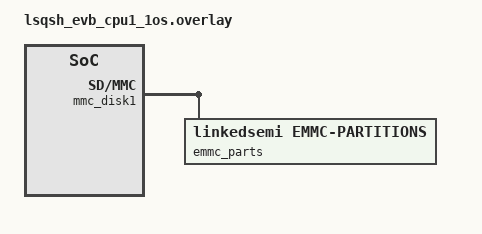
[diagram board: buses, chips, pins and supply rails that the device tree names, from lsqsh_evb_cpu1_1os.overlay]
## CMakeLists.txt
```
# SPDX-License-Identifier: Apache-2.0

cmake_minimum_required(VERSION 3.20.0)

find_package(Zephyr REQUIRED HINTS $ENV{ZEPHYR_BASE})
project(emmc_coredump)

target_sources(app PRIVATE src/main.c)
```

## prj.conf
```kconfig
# SPDX-License-Identifier: Apache-2.0

# eMMC Coredump Test Configuration

# CONFIG_TEST=y
CONFIG_DEBUG_COREDUMP=y
CONFIG_DEBUG_COREDUMP_MEMORY_DUMP_THREADS=y
CONFIG_DEBUG_COREDUMP_MEMORY_DUMP_LINKER_RAM=y

# Select eMMC backend
CONFIG_DEBUG_COREDUMP_BACKEND_EMMC=y
CONFIG_DISK_ACCESS=y
CONFIG_DISK_DRIVER_MMC=y
# FATFS for partition support
CONFIG_FILE_SYSTEM=y
CONFIG_FAT_FILESYSTEM_ELM=y
CONFIG_FS_FATFS_MULTI_PARTITION=y

# Logging
CONFIG_LOG=y
# Enable shell for debugging
CONFIG_SHELL=y
CONFIG_DEBUG_COREDUMP_SHELL=y
CONFIG_FILE_SYSTEM_SHELL=y
CONFIG_MAIN_STACK_SIZE=4000

# Stack protection
CONFIG_TEST_HW_STACK_PROTECTION=n


#Enable Unix-style mount point (e.g., /mnt instead of /mnt:).
CONFIG_ZEPHYR_FATFS_UNIX_MNTPOINT=n
CONFIG_ZEPHYR_FATFS_SD2_ALIAS_UNIX="mnt"

CONFIG_FS_FATFS_LFN=y
CONFIG_FS_FATFS_MAX_LFN=255
```

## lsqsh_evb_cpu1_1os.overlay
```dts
/*
 * Copyright (c) 2025 LinkedSemi
 * SPDX-License-Identifier: Apache-2.0
 */

/*
 * eMMC partition layout - linked to mmc_disk1 (SD2)
 * SD card capacity: 15269888 sectors (7.28 GiB)
 *
 * Layout:
 *   Sector 0:          MBR (512 bytes)
 *   Sector 1-2047:    Reserved area (1 MB - 512 bytes)
 *   Sector 2048+:     User partition (FAT32)
 *   Sector N+:        Coredump partition (10 MB)
 */
#define TOTAL_SECTORS       15269888                      /* 7.28 GiB */
#define MBR_AREA_SECTORS    2048                          /* 1 MB: MBR + reserved */
#define COREDUMP_SECTORS    20480                         /* 10 MB */
#define USER_PART_SECTORS   (TOTAL_SECTORS - MBR_AREA_SECTORS - COREDUMP_SECTORS)

&mmc_disk1 {

    disk-name = "SD2";
    /* eMMC partition info - child node of mmc_disk1 (SD2) */
    emmc_parts: emmc-partitions {
        compatible = "linkedsemi,emmc-partitions";

        /* MBR/Management area size in sectors */
        mbr-area-size = <MBR_AREA_SECTORS>;

        /* User partition (FAT32) size in sectors */
        user-partition-size = <USER_PART_SECTORS>;

        /* Coredump partition size in sectors */
        coredump-partition-size = <COREDUMP_SECTORS>;
    };
};
```

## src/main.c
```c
/*
 * Copyright (c) 2012-2014 Wind River Systems, Inc.
 * Copyright (c) 2024 LinkedSemi Semiconductor
 *
 * SPDX-License-Identifier: Apache-2.0
 */

/**
 * @file
 * @brief eMMC coredump backend test
 *
 * This test demonstrates:
 * 1. Clear FATFS test directory and coredump data
 * 2. FATFS read/write test (before coredump)
 * 3. Thread 1 crashes and triggers coredump to eMMC
 * 4. In exception handler, coredump data is stored to eMMC
 * 5. Thread 2 detects crash and reads coredump from eMMC
 * 6. Thread 2 verifies FATFS data is NOT corrupted by coredump
 * 7. Thread 2 performs additional FATFS read/write to verify FATFS still works
 */

#include <zephyr/kernel.h>
#include <zephyr/sys/printk.h>
#include <zephyr/debug/coredump.h>
#include <zephyr/logging/log.h>
#include <zephyr/storage/disk_access.h>
#include "emmc_partition.h"
#include "stdio.h"

LOG_MODULE_REGISTER(coredump_emmc_test, CONFIG_KERNEL_LOG_LEVEL);

#ifdef CONFIG_FS_FATFS_MULTI_PARTITION
#include <zephyr/fs/fs.h>
#include <ff.h>

static FATFS fs_part1;

/* Test file names */
#define TEST_FILE_1 "before.txt"
#define TEST_FILE_2 "after.txt"
#define TEST_DATA_1 "Hello from eMMC FAT32 - Data before crash!"
#define TEST_DATA_2 "FATFS still works after coredump!"

/**
 * @brief Clear all test files in the FATFS partition
 */
static int clear_fatfs_test_files(struct fs_mount_t *mountp)
{
	struct fs_dir_t dir;
	struct fs_dirent entry;
	int ret;

	LOG_INF("Clearing FATFS test files in %s...", mountp->mnt_point);

	ret = fs_opendir(&dir, mountp->mnt_point);
	if (ret < 0) {
		LOG_ERR("fs_opendir failed: %d", ret);
		return ret;
	}

	while (1) {
		ret = fs_readdir(&dir, &entry);
		if (ret < 0) {
			LOG_ERR("fs_readdir failed: %d", ret);
			fs_closedir(&dir);
			return ret;
		}

		/* Check if end of directory */
		if (entry.type == FS_DIR_ENTRY_DIR && entry.name[0] == 0) {
			break;
		}

		/* Skip . and .. entries */
		if (entry.name[0] == '.' &&
		    (entry.name[1] == 0 || (entry.name[1] == '.' && entry.name[2] == 0))) {
			continue;
		}

		/* Build full path */
		char file_path[64];
		snprintk(file_path, sizeof(file_path), "%s/%s", mountp->mnt_point, entry.name);

		if (entry.type == FS_DIR_ENTRY_FILE) {
			LOG_INF("Deleting file: %s", file_path);
			ret = fs_unlink(file_path);
			if (ret < 0) {
				LOG_ERR("Failed to delete %s: %d", file_path, ret);
			}
		} else if (entry.type == FS_DIR_ENTRY_DIR) {
			LOG_INF("Skipping directory: %s", file_path);
		}
	}

	fs_closedir(&dir);
	LOG_INF("FATFS test files cleared");
	return 0;
}

/**
 * @brief Clear coredump data from eMMC
 */
static void clear_coredump_data(void)
{
	int ret;

	LOG_INF("Clearing coredump data from eMMC...");

	ret = coredump_cmd(COREDUMP_CMD_ERASE_STORED_DUMP, NULL);
	if (ret == 0) {
		LOG_INF("Coredump data erased successfully");
	} else {
		LOG_ERR("Failed to erase coredump: %d", ret);
	}
}

/**
 * @brief Write test data to a specific file
 */
static int write_test_file(struct fs_mount_t *mountp, const char *filename, const char *data)
{
	struct fs_file_t fil;
	char file_path[64];
	char short_name[16];
	int ret;

	fs_file_t_init(&fil);

	/* Truncate filename to 12 chars (8.3 SFN limit) to avoid LFN issues */
	strncpy(short_name, filename, 12);
	short_name[12] = '\0';

	snprintk(file_path, sizeof(file_path), "%s/%s", EMMC_FATFS_MOUNT_POINT, short_name);
	ret = fs_open(&fil, file_path, FS_O_CREATE | FS_O_WRITE);
	if (ret < 0) {
		LOG_ERR("fs_open write failed for %s: %d", filename, ret);
		return ret;
	}

	ret = fs_write(&fil, data, strlen(data));
	if (ret < 0) {
		LOG_ERR("fs_write failed for %s: %d", filename, ret);
		fs_close(&fil);
		return ret;
	}

	LOG_INF("Wrote %d bytes to %s", ret, filename);
	fs_sync(&fil);
	fs_close(&fil);

	return 0;
}

/**
 * @brief Read and verify test data from a specific file
 */
static int read_verify_file(struct fs_mount_t *mountp, const char *filename,
			     const char *expected_data, bool verify_content)
{
	struct fs_file_t fil;
	char file_path[64];
	char short_name[16];
	char read_buf[128] = {0};
	int ret;

	fs_file_t_init(&fil);

	/* Truncate filename to 12 chars (8.3 SFN limit) to avoid LFN issues */
	strncpy(short_name, filename, 12);
	short_name[12] = '\0';

	snprintk(file_path, sizeof(file_path), "%s/%s", EMMC_FATFS_MOUNT_POINT, short_name);
	ret = fs_open(&fil, file_path, FS_O_READ);
	if (ret < 0) {
		LOG_ERR("fs_open read failed for %s: %d", filename, ret);
		return ret;
	}

	ret = fs_read(&fil, read_buf, sizeof(read_buf) - 1);
	fs_close(&fil);

	if (ret < 0) {
		LOG_ERR("fs_read failed for %s: %d", filename, ret);
		return ret;
	}

	read_buf[ret] = '\0';
	LOG_INF("Read %d bytes from %s: %s", ret, filename, read_buf);

	if (verify_content && expected_data != NULL) {
		if (strcmp(read_buf, expected_data) != 0) {
			LOG_ERR("Data mismatch! Expected: %s, Got: %s", expected_data, read_buf);
			return -1;
		}
		LOG_INF("Data verified OK for %s", filename);
	}

	return 0;
}

/**
 * @brief FATFS read/write test
 */
static int test_fatfs_read_write(const char *filename, const char *write_data)
{
	struct fs_mount_t mp1 = {
		.type = FS_FATFS,
		.fs_data = &fs_part1,
		.mnt_point = EMMC_FATFS_MOUNT_POINT,
	};
	struct fs_file_t fil;
	char file_path[64];
	char short_name[16];
	int ret;
	char read_buf[128];

	LOG_INF("=== FATFS Read/Write Test ===");
	LOG_INF("File: %s, Data: %s", filename, write_data);

	/* Mount */
	ret = fs_mount(&mp1);
	if (ret < 0) {
		LOG_ERR("fs_mount failed: %d", ret);
		return ret;
	}
	LOG_INF("Partition mounted successfully");

	/* Build file path with snprintk */

	/* Truncate filename to 12 chars (8.3 SFN limit) to avoid LFN issues */
	strncpy(short_name, filename, 12);
	short_name[12] = '\0';

	snprintk(file_path, sizeof(file_path), "%s/%s", EMMC_FATFS_MOUNT_POINT, short_name);
	LOG_INF("Opening path: %s", file_path);

	/* Write test */
	fs_file_t_init(&fil);
	ret = fs_open(&fil, file_path, FS_O_CREATE | FS_O_WRITE);
	if (ret < 0) {
		LOG_ERR("fs_open write failed: %d", ret);
		fs_unmount(&mp1);
		return ret;
	}

	ret = fs_write(&fil, write_data, strlen(write_data));
	if (ret < 0) {
		LOG_ERR("fs_write failed: %d", ret);
		fs_close(&fil);
		fs_unmount(&mp1);
		return ret;
	}
	LOG_INF("Wrote %d bytes", ret);
	fs_sync(&fil);
	fs_close(&fil);

	/* Read test */
	fs_file_t_init(&fil);
	ret = fs_open(&fil, file_path, FS_O_READ);
	if (ret < 0) {
		LOG_ERR("fs_open read failed: %d", ret);
		fs_unmount(&mp1);
		return ret;
	}

	memset(read_buf, 0, sizeof(read_buf));
	ret = fs_read(&fil, read_buf, sizeof(read_buf) - 1);
	fs_close(&fil);
	fs_unmount(&mp1);

	if (ret < 0) {
		LOG_ERR("fs_read failed: %d", ret);
		return ret;
	}
	read_buf[ret] = '\0';
	LOG_INF("Read %d bytes: %s", ret, read_buf);

	/* Verify */
	if (strcmp(read_buf, write_data) != 0) {
		LOG_ERR("Data mismatch!");
		return -1;
	}

	LOG_INF("=== FATFS Test PASSED ===");
	return 0;
}
#endif /* CONFIG_FS_FATFS_MULTI_PARTITION */

struct k_thread crash_thread;
struct k_thread verify_thread;
K_THREAD_STACK_DEFINE(crash_stack, CONFIG_MAIN_STACK_SIZE);
K_THREAD_STACK_DEFINE(verify_stack, CONFIG_MAIN_STACK_SIZE);

#define THREAD_STATE_TERMINATED BIT(3)

/* Turn off optimizations to prevent the compiler from optimizing this away
 * due to the null pointer dereference.
 */
__no_optimization void func_3(uint32_t *addr)
{
	LOG_INF("func_3");
	*addr = 0;
	while(1);
}

__no_optimization void func_2(uint32_t *addr)
{
	LOG_INF("func_2");
	func_3(addr);
}

__no_optimization void func_1(uint32_t *addr)
{
	LOG_INF("func_1");
	func_2(addr);
}

/**
 * @brief Thread 1: Triggers crash and generates coredump
 */
static void crash_entry(void *p1, void *p2, void *p3)
{
	printk("Coredump: %s\n", CONFIG_BOARD);

	func_1(0);

	/* Should never reach here */
	LOG_ERR("[Thread1] ERROR: Function returned after crash!");
}

/**
 * @brief Print coredump data in hexadecimal format with coredump log prefix
 */
static void print_coredump_hex(const uint8_t *data, size_t len)
{
	char line_buf[128];
	size_t i, j;

	/* Print with COREDUMP_PREFIX_STR so it can be parsed by coredump_serial_log_parser.py */
	for (i = 0; i < len; i += 16) {
		int offset = 0;

		offset += snprintk(line_buf + offset, sizeof(line_buf) - offset, "%s", COREDUMP_PREFIX_STR);

		for (j = 0; j < 16 && (i + j) < len; j++) {
			offset += snprintk(line_buf + offset, sizeof(line_buf) - offset,
					  "%02x", data[i + j]);
		}

		LOG_INF("%s", line_buf);
	}
}

/* Static buffer for reading coredump - no malloc allowed */
static uint8_t coredump_read_buf[5120] __aligned(CONFIG_SDHC_BUFFER_ALIGNMENT);

/**
 * @brief Thread 2: Monitors for crash and reads coredump from eMMC
 */
static void verify_entry(void *p1, void *p2, void *p3)
{
	int ret;
	ssize_t dump_size;
	struct coredump_cmd_copy_arg copy_arg;
	size_t offset = 0;

	LOG_INF("[Thread2] Starting - waiting for crash in Thread1...");

	while (1) {
		k_sleep(K_MSEC(1));

		/* Check if crash thread terminated */
		if (crash_thread.base.thread_state & THREAD_STATE_TERMINATED) {
			LOG_INF("[Thread2] Detected crash_thread terminated");
			break;
		}

		LOG_DBG("[Thread2] Still monitoring... thread_state=0x%x",
			crash_thread.base.thread_state);
	}

	/* Wait for coredump to complete */
	k_sleep(K_MSEC(3));

	LOG_INF("[Thread2] Attempting to read coredump from eMMC...");

	/* Check if coredump is available */
	ret = coredump_query(COREDUMP_QUERY_HAS_STORED_DUMP, NULL);
	if (ret != 1) {
		LOG_ERR("[Thread2] No stored coredump found (query returned %d)", ret);
		LOG_ERR("[Thread2] This may indicate the eMMC backend is not working");
		return;
	}

	dump_size = coredump_query(COREDUMP_QUERY_GET_STORED_DUMP_SIZE, NULL);
	if (dump_size <= 0) {
		LOG_ERR("[Thread2] Invalid coredump size: %d", dump_size);
		return;
	}

	LOG_INF("[Thread2] Found stored coredump, size: %d bytes", dump_size);

	/* Read and print coredump data */
	LOG_INF("[Thread2] Reading coredump data from eMMC...");
	offset = 0;
	/* Print BEGIN marker for coredump log parser */
	LOG_INF("%s%s", COREDUMP_PREFIX_STR, COREDUMP_BEGIN_STR);
	while (offset < dump_size) {
		size_t to_read = MIN(sizeof(coredump_read_buf), dump_size - offset);

		copy_arg.offset = offset;
		copy_arg.buffer = coredump_read_buf;
		copy_arg.length = to_read;

		ret = coredump_cmd(COREDUMP_CMD_COPY_STORED_DUMP, &copy_arg);
		if (ret <= 0) {
			LOG_ERR("[Thread2] Failed to read coredump at offset %zu (ret=%d)",
				offset, ret);
			break;
		}

		/* Print all coredump chunks in hex with #CD: prefix for log parser */
		LOG_INF("[Thread2] --- Coredump data at offset %zu ---", offset);
		print_coredump_hex(coredump_read_buf, ret);

		offset += ret;
	}

	/* Print END marker for coredump log parser */
	LOG_INF("%s%s", COREDUMP_PREFIX_STR, COREDUMP_END_STR);
	if (offset == (size_t)dump_size) {
		LOG_INF("[Thread2] Coredump read complete: %zu bytes", offset);
	} else {
		LOG_ERR("[Thread2] Coredump read incomplete: %zu / %d bytes", offset, dump_size);
	}

	LOG_INF("[Thread2] Test complete");
	LOG_INF("Please test coredump shell, use cmd :'coredump_emmc xxxx'");

#ifdef CONFIG_FS_FATFS_MULTI_PARTITION
	/* Test FATFS after coredump */
	LOG_INF("[Thread2] Testing FATFS after coredump...");
	test_fatfs_read_write(TEST_FILE_2, TEST_DATA_2);
#endif

}
static int test_fatfs_read_write22222(void);
int main(void)
{
	LOG_INF("========================================");
	LOG_INF("eMMC Coredump Test Starting...");
	LOG_INF("========================================");
	LOG_INF("Board: %s", CONFIG_BOARD);

	/* Initialize eMMC backend if enabled */
	if (init_coredump_emmc_backend() != 0) {
		LOG_ERR("Failed to initialize eMMC backend");
		LOG_ERR("Please ensure CONFIG_DEBUG_COREDUMP_EMMC=y in prj.conf");
		LOG_ERR("abort coredump test");
		return 0;
	}
#ifdef CONFIG_FS_FATFS_MULTI_PARTITION
	/* Test FATFS read/write - before crash */
	test_fatfs_read_write(TEST_FILE_1, TEST_DATA_1);
#endif

	LOG_INF("Creating crash thread (Thread1)...");
	k_thread_create(&crash_thread, crash_stack, CONFIG_MAIN_STACK_SIZE,
		       crash_entry, NULL, NULL, NULL,
		       -1, IS_ENABLED(CONFIG_USERSPACE) ? K_USER : 0, K_NO_WAIT);

	LOG_INF("Creating monitor thread (Thread2)...");
	k_thread_create(&verify_thread, verify_stack, CONFIG_MAIN_STACK_SIZE,
		       verify_entry, NULL, NULL, NULL,
		       -1, IS_ENABLED(CONFIG_USERSPACE) ? K_USER : 0, K_NO_WAIT);

	LOG_INF("Main thread exiting - test running in background");

	return 0;
}
```
